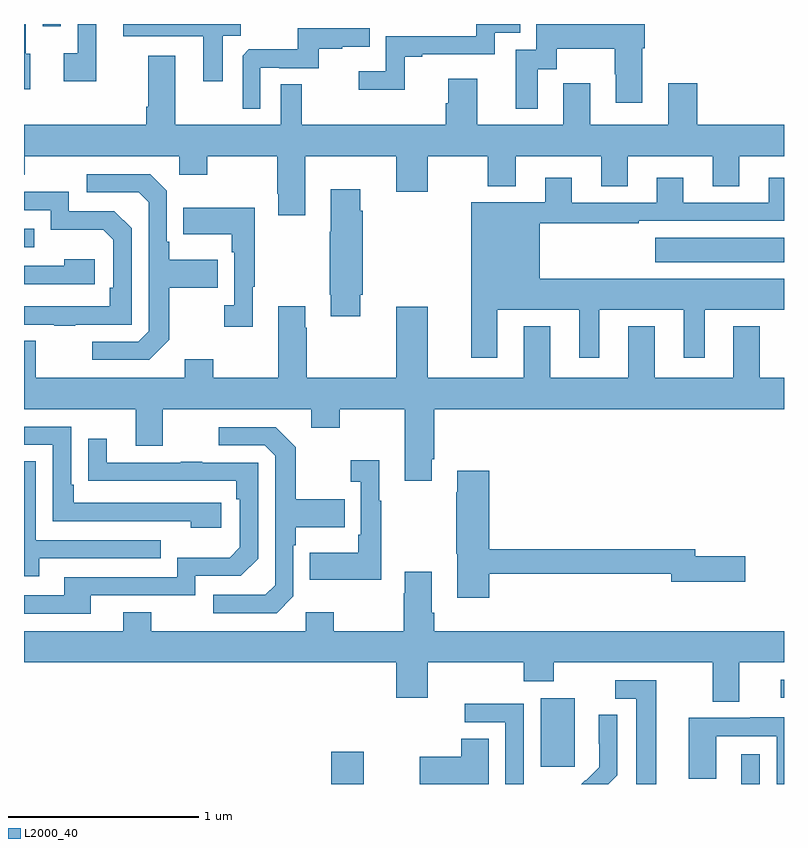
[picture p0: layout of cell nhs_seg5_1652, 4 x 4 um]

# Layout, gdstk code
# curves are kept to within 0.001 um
import gdstk
lib = gdstk.Library(unit=1e-6, precision=1e-09)
def R(c, l, rs):  # rectangles x0, y0, x1, y1
    for r in rs: c.add(gdstk.rectangle(r[:2], r[2:], *l))
def P(c, l, *ps):  # polygons
    for p in ps: c.add(gdstk.Polygon(p, *l))
L2000_40 = (2000, 40)

nhs_seg5_1652 = lib.new_cell('nhs_seg5_1652')
R(nhs_seg5_1652, L2000_40, [(212.618,842.799,212.788,842.968), (214.775,842.799,214.872,842.956), (213.719,842.889,213.898,843.25), (214.983,843.252,215,843.348), (214.323,845.546,215,845.674), (211,845.625,211.055,845.721), (211.098,846.786,211.194,846.799)])
P(nhs_seg5_1652, L2000_40, [(212.047,846.736),(212.142,846.736),(212.142,846.799),(211.523,846.799),(211.523,846.734),(211.943,846.734),(211.943,846.498),(212.047,846.498)],
  [(211.033,846.642),(211.008,846.642),(211.008,846.799),(211,846.799),(211,846.455),(211.033,846.455)],
  [(213.003,846.627),(213.097,846.627),(213.097,846.639),(213.477,846.639),(213.477,846.753),(213.611,846.753),(213.611,846.799),(213.381,846.799),(213.381,846.735),(212.904,846.735),(212.904,846.55),(212.763,846.55),(212.763,846.452),(213.003,846.452)],
  [(213.703,846.562),(213.805,846.562),(213.805,846.668),(214.108,846.668),(214.108,846.534),(214.115,846.534),(214.115,846.384),(214.255,846.384),(214.255,846.672),(214.268,846.672),(214.268,846.799),(213.696,846.799),(213.696,846.663),(213.587,846.663),(213.587,846.354),(213.703,846.354)],
  [(211.381,846.799),(211.284,846.799),(211.284,846.646),(211.209,846.646),(211.209,846.498),(211.381,846.498)],
  [(212.244,846.57),(212.344,846.57),(212.344,846.567),(212.552,846.567),(212.552,846.669),(212.675,846.669),(212.675,846.68),(212.819,846.68),(212.819,846.777),(212.442,846.777),(212.442,846.665),(212.183,846.665),(212.151,846.633),(212.151,846.353),(212.244,846.353)],
  [(212.479,846.104),(212.96,846.104),(212.96,845.916),(213.124,845.916),(213.124,846.104),(213.442,846.104),(213.442,845.945),(213.589,845.945),(213.589,846.104),(214.037,846.104),(214.037,845.944),(214.177,845.944),(214.177,846.104),(214.625,846.104),(214.625,845.944),(214.765,845.944),(214.765,846.104),(215,846.104),(215,846.268),(214.544,846.268),(214.544,846.487),(214.391,846.487),(214.391,846.268),(213.979,846.268),(213.979,846.487),(213.839,846.487),(213.839,846.268),(213.385,846.268),(213.385,846.511),(213.233,846.511),(213.233,846.381),(213.221,846.381),(213.221,846.268),(212.461,846.268),(212.461,846.482),(212.352,846.482),(212.352,846.268),(211.795,846.268),(211.795,846.631),(211.655,846.631),(211.655,846.364),(211.643,846.364),(211.643,846.268),(211,846.268),(211,846.005),(211.005,846.005),(211.005,846.104),(211.818,846.104),(211.818,846.005),(211.965,846.005),(211.965,846.104),(212.332,846.104),(212.332,845.905),(212.339,845.905),(212.339,845.793),(212.479,845.793)],
  [(211.765,845.137),(211.765,845.41),(212.021,845.41),(212.021,845.557),(211.765,845.557),(211.765,845.653),(211.752,845.653),(211.752,845.922),(211.665,846.009),(211.329,846.009),(211.329,845.913),(211.605,845.913),(211.656,845.862),(211.656,845.181),(211.602,845.127),(211.359,845.127),(211.359,845.031),(211.659,845.031)],
  [(213.49,845.294),(213.923,845.294),(213.923,845.043),(214.027,845.043),(214.027,845.294),(214.472,845.294),(214.472,845.043),(214.582,845.043),(214.582,845.294),(215,845.294),(215,845.458),(213.715,845.458),(213.715,845.751),(214.235,845.751),(214.235,845.763),(215,845.763),(215,845.989),(214.919,845.989),(214.919,845.859),(214.471,845.859),(214.471,845.989),(214.331,845.989),(214.331,845.859),(213.883,845.859),(213.883,845.989),(213.743,845.989),(213.743,845.86),(213.353,845.86),(213.353,845.043),(213.49,845.043)],
  [(212.77,845.374),(212.783,845.374),(212.783,845.816),(212.77,845.816),(212.77,845.929),(212.615,845.929),(212.615,845.705),(212.608,845.705),(212.608,845.374),(212.615,845.374),(212.615,845.262),(212.77,845.262)],
  [(211.271,845.217),(211.566,845.217),(211.566,845.724),(211.476,845.814),(211.236,845.814),(211.236,845.916),(211,845.916),(211,845.82),(211.14,845.82),(211.14,845.717),(211.417,845.717),(211.47,845.664),(211.47,845.41),(211.45,845.41),(211.45,845.313),(211,845.313),(211,845.217),(211.159,845.217),(211.159,845.212),(211.271,845.212)],
  [(212.203,845.417),(212.215,845.417),(212.215,845.833),(211.837,845.833),(211.837,845.693),(212.094,845.693),(212.094,845.597),(212.106,845.597),(212.106,845.318),(212.055,845.318),(212.055,845.205),(212.203,845.205)],
  [(211.372,845.56),(211.211,845.56),(211.211,845.526),(211,845.526),(211,845.43),(211.372,845.43)],
  [(213.145,844.507),(213.158,844.507),(213.158,844.772),(215,844.772),(215,844.936),(214.873,844.936),(214.873,845.209),(214.733,845.209),(214.733,844.936),(214.321,844.936),(214.321,845.209),(214.181,845.209),(214.181,844.936),(213.769,844.936),(213.769,845.209),(213.629,845.209),(213.629,844.936),(213.124,844.936),(213.124,845.311),(212.96,845.311),(212.96,844.936),(212.487,844.936),(212.487,845.201),(212.479,845.201),(212.479,845.314),(212.339,845.314),(212.339,844.936),(211.995,844.936),(211.995,845.035),(211.847,845.035),(211.847,844.936),(211.063,844.936),(211.063,845.131),(211,845.131),(211,844.772),(211.589,844.772),(211.589,844.578),(211.729,844.578),(211.729,844.772),(212.513,844.772),(212.513,844.673),(212.661,844.673),(212.661,844.772),(213.005,844.772),(213.005,844.395),(213.145,844.395)],
  [(212.038,844.278),(211.261,844.278),(211.261,844.375),(211.248,844.375),(211.248,844.68),(211,844.68),(211,844.584),(211.152,844.584),(211.152,844.182),(211.877,844.182),(211.877,844.148),(212.038,844.148)],
  [(212.418,843.786),(212.418,844.055),(212.431,844.055),(212.431,844.151),(212.687,844.151),(212.687,844.299),(212.431,844.299),(212.431,844.571),(212.325,844.677),(212.025,844.677),(212.025,844.581),(212.268,844.581),(212.322,844.527),(212.322,843.846),(212.271,843.795),(211.995,843.795),(211.995,843.699),(212.331,843.699)],
  [(211.351,843.792),(211.902,843.792),(211.902,843.894),(212.142,843.894),(212.232,843.984),(212.232,844.491),(211.937,844.491),(211.937,844.496),(211.825,844.496),(211.825,844.491),(211.435,844.491),(211.435,844.615),(211.339,844.615),(211.339,844.396),(212.116,844.395),(212.116,844.298),(212.136,844.298),(212.136,844.044),(212.083,843.991),(211.806,843.991),(211.806,843.888),(211.211,843.888),(211.211,843.792),(211,843.792),(211,843.696),(211.351,843.696)],
  [(212.881,844.291),(212.869,844.291),(212.869,844.504),(212.721,844.504),(212.721,844.391),(212.772,844.391),(212.772,844.111),(212.76,844.111),(212.76,844.015),(212.503,844.015),(212.503,843.875),(212.881,843.875)],
  [(211.081,843.987),(211.721,843.987),(211.721,844.083),(211.062,844.083),(211.062,844.499),(211,844.499),(211,843.893),(211.081,843.893)],
  [(213.449,843.906),(214.406,843.906),(214.406,843.863),(214.795,843.863),(214.795,843.998),(214.534,843.998),(214.534,844.034),(213.449,844.034),(213.449,844.447),(213.281,844.447),(213.281,844.334),(213.274,844.334),(213.274,844.011),(213.281,844.011),(213.281,843.78),(213.449,843.78)],
  [(213.005,843.916),(213.005,843.803),(212.998,843.803),(212.998,843.604),(212.631,843.604),(212.631,843.703),(212.484,843.703),(212.484,843.604),(211.671,843.604),(211.671,843.703),(211.523,843.703),(211.523,843.604),(211,843.604),(211,843.44),(212.96,843.44),(212.96,843.252),(213.124,843.252),(213.124,843.44),(213.629,843.44),(213.629,843.341),(213.789,843.341),(213.789,843.44),(214.625,843.44),(214.625,843.232),(214.765,843.232),(214.765,843.44),(215,843.44),(215,843.604),(213.158,843.604),(213.158,843.7),(213.145,843.7),(213.145,843.916)],
  [(214.327,843.345),(214.113,843.345),(214.113,843.249),(214.223,843.249),(214.223,842.799),(214.327,842.799)],
  [(213.63,843.222),(213.321,843.222),(213.321,843.123),(213.534,843.123),(213.534,842.799),(213.63,842.799)],
  [(214.122,842.846),(214.122,843.164),(214.026,843.164),(214.026,843.01),(214.028,843.01),(214.028,842.888),(213.957,842.817),(213.954,842.82),(213.933,842.799),(214.075,842.799)],
  [(215,843.151),(214.823,843.151),(214.823,843.147),(214.499,843.147),(214.499,842.827),(214.644,842.827),(214.644,843.051),(214.962,843.051),(214.962,842.799),(215,842.799)],
  [(213.445,843.038),(213.302,843.038),(213.302,842.943),(213.084,842.943),(213.084,842.799),(213.445,842.799)])

lib.write_gds('nhs_seg5_1652.gds')
